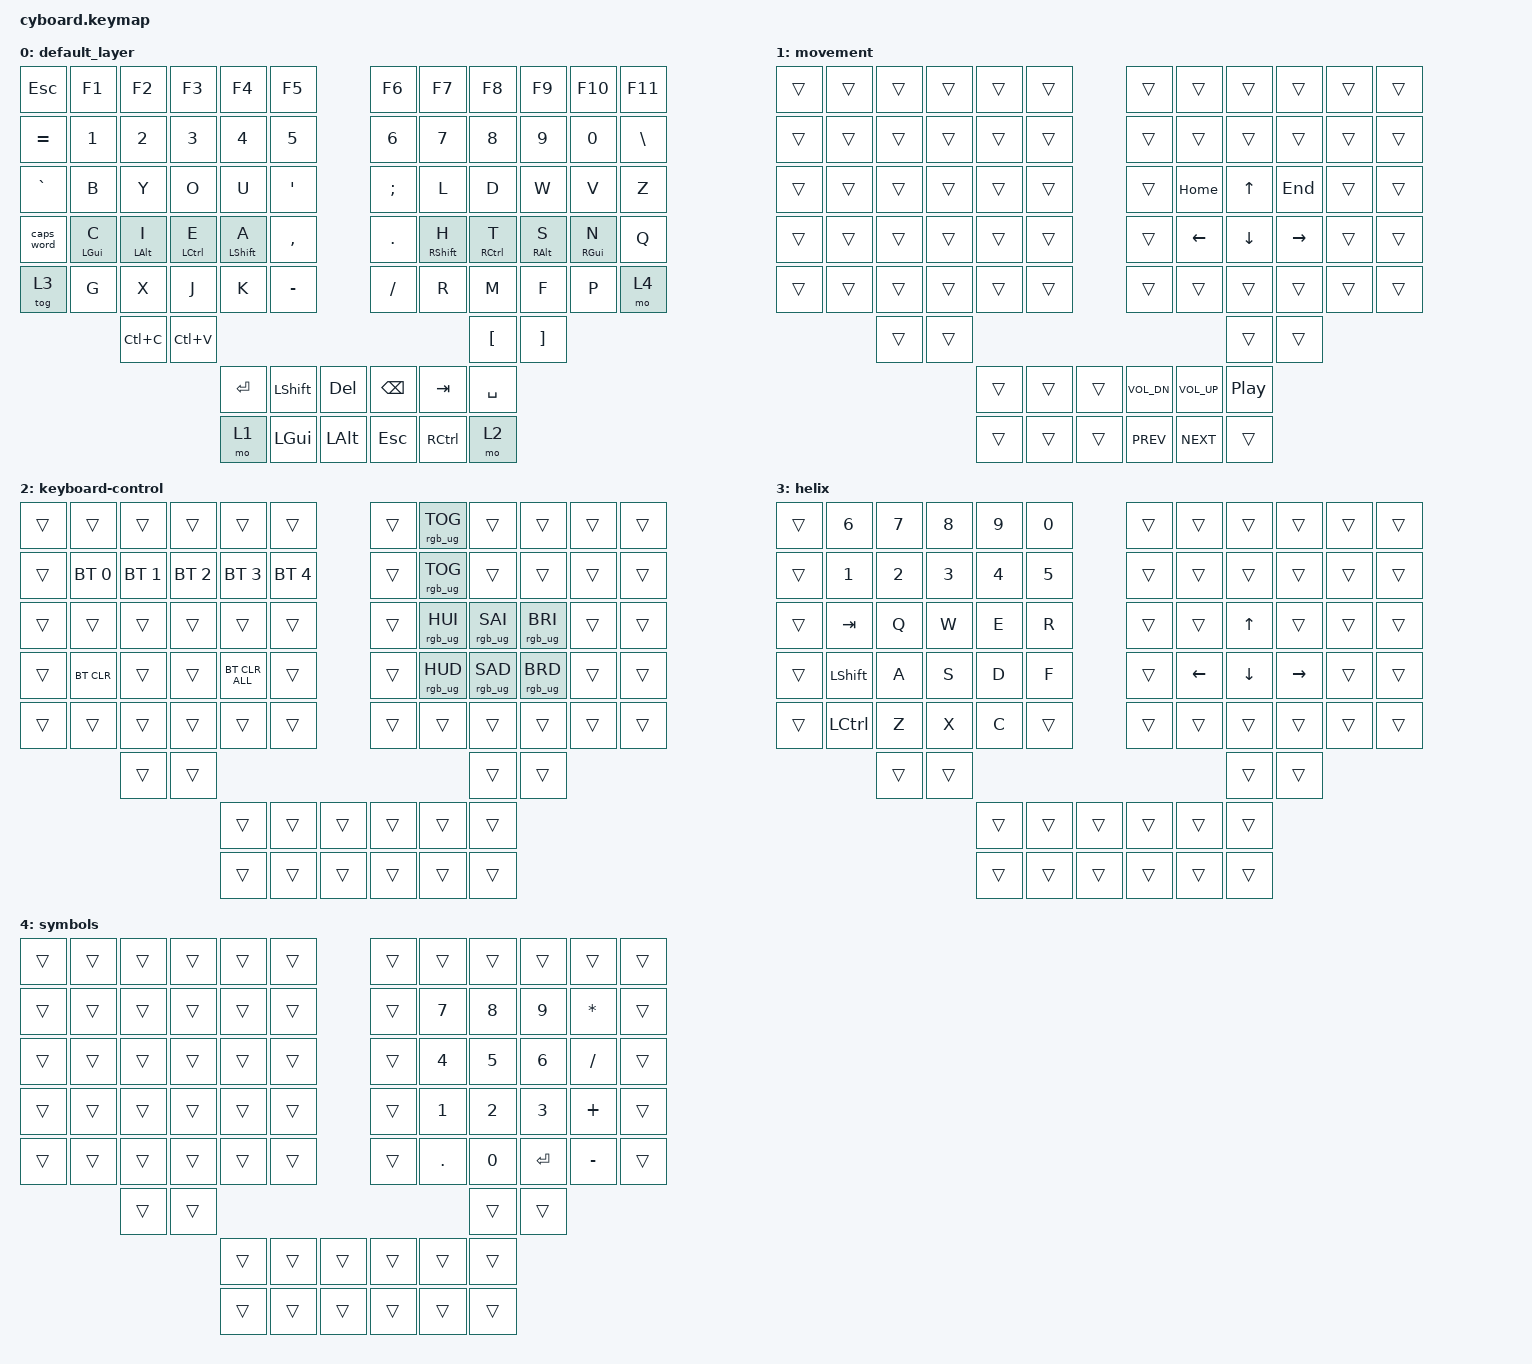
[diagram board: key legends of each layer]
#include <behaviors.dtsi>
#include <dt-bindings/zmk/bt.h>
#include <dt-bindings/zmk/keys.h>
#include <dt-bindings/zmk/outputs.h>
#include <dt-bindings/zmk/rgb.h>
#include <dt-bindings/zmk/ext_power.h>

/ {
    chosen { zmk,matrix-transform = &imprint_function_row; };

    keymap {
        compatible = "zmk,keymap";

        default_layer {
            bindings = <
&kp ESC     &kp F1          &kp F2          &kp F3              &kp F4            &kp F5                            &kp F6         &kp F7             &kp F8               &kp F9           &kp F10          &kp F11
&kp EQUAL   &kp N1          &kp N2          &kp N3              &kp N4            &kp N5                            &kp N6         &kp N7             &kp N8               &kp N9           &kp N0           &kp BACKSLASH
&kp GRAVE   &kp B           &kp Y           &kp O               &kp U             &kp SINGLE_QUOTE                  &kp SEMICOLON  &kp L              &kp D                &kp W            &kp V            &kp Z
&caps_word  &mt LEFT_GUI C  &mt LEFT_ALT I  &mt LEFT_CONTROL E  &mt LEFT_SHIFT A  &kp COMMA                         &kp PERIOD     &mt RIGHT_SHIFT H  &mt RIGHT_CONTROL T  &mt RIGHT_ALT S  &mt RIGHT_GUI N  &kp Q
&tog 3      &kp G           &kp X           &kp J               &kp K             &kp MINUS                         &kp SLASH      &kp R              &kp M                &kp F            &kp P            &mo 4
                            &kp LC(C)       &kp LC(V)                                                                                                 &kp LBKT             &kp RBKT
                                                                &kp RET           &kp LEFT_SHIFT    &kp DELETE      &kp BACKSPACE  &kp TAB            &kp SPACE
                                                                &mo 1             &kp LEFT_GUI      &kp LEFT_ALT    &kp ESCAPE     &kp RIGHT_CONTROL  &mo 2
            >;
        };

        movement {
            bindings = <
&trans  &trans  &trans  &trans  &trans  &trans            &trans        &trans        &trans    &trans     &trans  &trans
&trans  &trans  &trans  &trans  &trans  &trans            &trans        &trans        &trans    &trans     &trans  &trans
&trans  &trans  &trans  &trans  &trans  &trans            &trans        &kp HOME      &kp UP    &kp END    &trans  &trans
&trans  &trans  &trans  &trans  &trans  &trans            &trans        &kp LEFT      &kp DOWN  &kp RIGHT  &trans  &trans
&trans  &trans  &trans  &trans  &trans  &trans            &trans        &trans        &trans    &trans     &trans  &trans
                &trans  &trans                                                        &trans    &trans
                                &trans  &trans  &trans    &kp C_VOL_DN  &kp C_VOL_UP  &kp C_PP
                                &trans  &trans  &trans    &kp C_PREV    &kp C_NEXT    &trans
            >;
        };

        keyboard-control {
            bindings = <
&trans  &trans        &trans        &trans        &trans          &trans                  &trans  &rgb_ug RGB_TOG  &trans           &trans           &trans  &trans
&trans  &bt BT_SEL 0  &bt BT_SEL 1  &bt BT_SEL 2  &bt BT_SEL 3    &bt BT_SEL 4            &trans  &rgb_ug RGB_TOG  &trans           &trans           &trans  &trans
&trans  &trans        &trans        &trans        &trans          &trans                  &trans  &rgb_ug RGB_HUI  &rgb_ug RGB_SAI  &rgb_ug RGB_BRI  &trans  &trans
&trans  &bt BT_CLR    &trans        &trans        &bt BT_CLR_ALL  &trans                  &trans  &rgb_ug RGB_HUD  &rgb_ug RGB_SAD  &rgb_ug RGB_BRD  &trans  &trans
&trans  &trans        &trans        &trans        &trans          &trans                  &trans  &trans           &trans           &trans           &trans  &trans
                      &trans        &trans                                                                         &trans           &trans
                                                  &trans          &trans        &trans    &trans  &trans           &trans
                                                  &trans          &trans        &trans    &trans  &trans           &trans
            >;
        };

        helix {
            bindings = <
&trans  &kp NUMBER_6    &kp NUMBER_7  &kp NUMBER_8  &kp NUMBER_9  &kp NUMBER_0            &trans  &trans          &trans          &trans           &trans  &trans
&trans  &kp NUMBER_1    &kp NUMBER_2  &kp NUMBER_3  &kp NUMBER_4  &kp NUMBER_5            &trans  &trans          &trans          &trans           &trans  &trans
&trans  &kp TAB         &kp Q         &kp W         &kp E         &kp R                   &trans  &trans          &kp UP_ARROW    &trans           &trans  &trans
&trans  &kp LEFT_SHIFT  &kp A         &kp S         &kp D         &kp F                   &trans  &kp LEFT_ARROW  &kp DOWN_ARROW  &kp RIGHT_ARROW  &trans  &trans
&trans  &kp LCTRL       &kp Z         &kp X         &kp C         &trans                  &trans  &trans          &trans          &trans           &trans  &trans
                        &trans        &trans                                                                      &trans          &trans
                                                    &trans        &trans        &trans    &trans  &trans          &trans
                                                    &trans        &trans        &trans    &trans  &trans          &trans
            >;
        };

        symbols {
            bindings = <
&trans  &trans  &trans  &trans  &trans  &trans            &trans  &trans        &trans        &trans        &trans        &trans
&trans  &trans  &trans  &trans  &trans  &trans            &trans  &kp NUMBER_7  &kp NUMBER_8  &kp NUMBER_9  &kp ASTERISK  &trans
&trans  &trans  &trans  &trans  &trans  &trans            &trans  &kp NUMBER_4  &kp NUMBER_5  &kp NUMBER_6  &kp SLASH     &trans
&trans  &trans  &trans  &trans  &trans  &trans            &trans  &kp NUMBER_1  &kp NUMBER_2  &kp NUMBER_3  &kp PLUS      &trans
&trans  &trans  &trans  &trans  &trans  &trans            &trans  &kp PERIOD    &kp NUMBER_0  &kp ENTER     &kp MINUS     &trans
                &trans  &trans                                                  &trans        &trans
                                &trans  &trans  &trans    &trans  &trans        &trans
                                &trans  &trans  &trans    &trans  &trans        &trans
            >;
        };
    };
};
